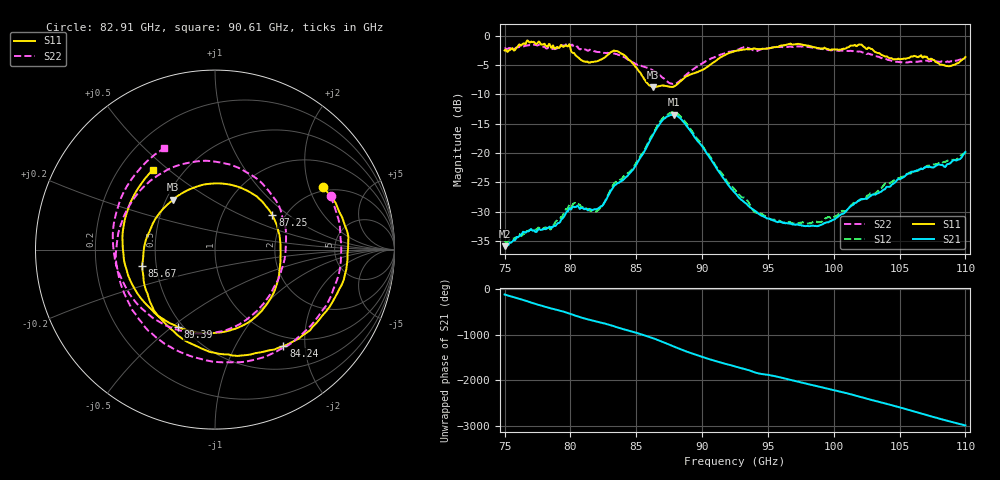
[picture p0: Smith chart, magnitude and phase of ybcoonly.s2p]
#  HZ  S  RI  R  50.00
! Rohde & Schwarz Vector Network Analyzer
! Rohde-Schwarz,ZNA50-4Port,1332450054101417,2.92
! Created: UTC 11/6/2024, 12:37:30 PM
! freq[Hz]  re:S11  im:S11  re:S21  im:S21  re:S12  im:S12  re:S22  im:S22
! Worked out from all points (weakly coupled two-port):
!   1001 points, 75 GHz to 110 GHz, reference 50 ohm
!   highest |S21| = -13.47 dB at 87.88 GHz (marker M1); lowest = -35.9 dB at 75 GHz (marker M2)
!   lowest |S11| = -8.8 dB at 86.27 GHz (marker M3), VSWR 2.14, Z = 27.2 + j17.5 ohm
!   |S11| at or under -10 dB: nowhere
!   |S22| runs from -8.2 to -1.3 dB; largest |S21 - S12| = 0.12
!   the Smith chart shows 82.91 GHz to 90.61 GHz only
!   S11 on the Smith chart (normalised r, x): 82.91 GHz: 1.85, +2.50; 84.24 GHz: 0.84, -1.60; 85.67 GHz: 0.42, -0.09; 87.25 GHz: 1.72, +0.77; 89.39 GHz: 0.47, -0.52; 90.61 GHz: 0.34, +0.44
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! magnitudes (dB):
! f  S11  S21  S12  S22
! 75 GHz  -2.5  -35.9  -35.2  -2.2
! 76.86 GHz  -1.1  -33.3  -33.2  -1.6
! 78.57 GHz  -2.1  -32.7  -32.7  -2.3
! 79.8 GHz  -1.8  -29.9  -29.4  -1.3
! 80.84 GHz  -4.2  -29.3  -29.1  -2.4
! 81.97 GHz  -4.4  -29.6  -30.0  -2.8
! 82.91 GHz  -3.1  -27.1  -26.9  -3.0
! 84.24 GHz  -3.6  -24.1  -23.6  -3.9
! 85.67 GHz  -7.6  -19.5  -19.3  -5.4
! 86.27 GHz  -8.8  -16.9  -16.8  -5.9
! 86.69 GHz  -8.6  -15.4  -15.0  -6.6
! 87.25 GHz  -8.6  -13.9  -13.6  -7.6
! 87.88 GHz  -8.6  -13.5  -13.0  -8.2
! 89.39 GHz  -6.4  -17.1  -16.8  -5.6
! 90.61 GHz  -5.0  -20.9  -20.6  -4.0
! 92.5 GHz  -2.6  -26.8  -26.2  -2.6
! 95.16 GHz  -2.1  -31.2  -31.3  -2.2
! 98.34 GHz  -1.9  -32.4  -31.8  -2.0
! 102 GHz  -1.5  -27.9  -28.0  -2.7
! 104.2 GHz  -3.8  -25.8  -25.3  -4.2
! 108.7 GHz  -5.2  -21.9  -21.3  -4.4
! 110 GHz  -3.7  -19.8  -20.0  -3.8
